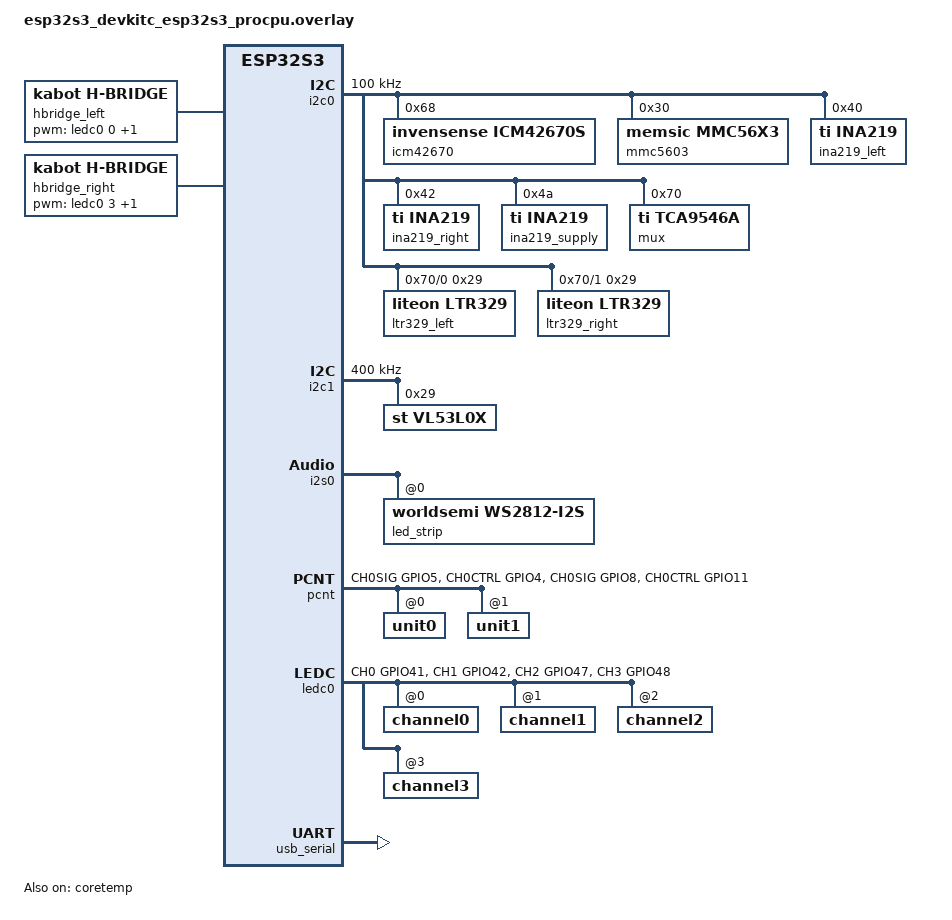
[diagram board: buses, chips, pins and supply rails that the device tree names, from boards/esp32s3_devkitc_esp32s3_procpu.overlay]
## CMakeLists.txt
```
cmake_minimum_required(VERSION 3.20.5)

include(${CMAKE_CURRENT_SOURCE_DIR}/../cmake/KabotVersion.cmake)
kabot_generate_version(${CMAKE_CURRENT_SOURCE_DIR}/VERSION)

list(
    APPEND
    ZEPHYR_EXTRA_MODULES
    ${CMAKE_CURRENT_SOURCE_DIR}/../modules/motor_driver
    ${CMAKE_CURRENT_SOURCE_DIR}/../modules/led_strip
    )

find_package(Zephyr REQUIRED)

project(kabot)

list(APPEND CMAKE_MODULE_PATH ${ZEPHYR_BASE}/modules/nanopb)
include(nanopb)

zephyr_nanopb_sources(app protos/state_control_msg.proto)

zephyr_library_include_directories(include)

target_sources(
    app
    PRIVATE src/main.c
            src/control/control_service.c
            src/control/discovery_service.c
            src/system/robot_settings.c
            src/zbus/channels/control_channel.c
            src/zbus/control/effort_subscriber.c
            src/zbus/channels/state_channel.c
            src/zbus/channels/state_egress_channel.c
            src/zbus/state/state_aggregator.c
            src/zbus/control/effort_state_publisher.c
            src/zbus/state/state_periodic_publisher.c
            src/zbus/state/state_udp_sender.c
            src/zbus/channels/sensor_channel.c
            src/zbus/state/sensor_subscriber.c
            src/encoder_sensor_service.c
)

if(CONFIG_KABOT_ENABLE_SIMULATED_STATE_SENSORS)
    if(CONFIG_KABOT_ENABLE_SIMULATED_IMU_PUBLISHER)
        target_sources(app PRIVATE src/zbus/state/sim_imu_publisher.c)
    endif()

    if(CONFIG_KABOT_ENABLE_SIMULATED_MAG_PUBLISHER)
        target_sources(app PRIVATE src/zbus/state/sim_magnetometer_publisher.c)
    endif()

    if(CONFIG_KABOT_ENABLE_SIMULATED_DISTANCE_PUBLISHER)
        target_sources(app PRIVATE src/zbus/state/sim_distance_publisher.c)
    endif()

    if(CONFIG_KABOT_ENABLE_SIMULATED_CURRENT_PUBLISHER)
        target_sources(app PRIVATE src/zbus/state/sim_current_publisher.c)
    endif()
endif()

if(CONFIG_KABOT_ENABLE_DISTANCE_PUBLISHER)
    target_sources(app PRIVATE src/zbus/state/distance_publisher.c)
endif()

if(CONFIG_KABOT_ENABLE_MAGNETOMETER_PUBLISHER)
    target_sources(app PRIVATE src/zbus/state/magnetometer_publisher.c)
endif()

if(CONFIG_KABOT_ENABLE_IMU_PUBLISHER)
    target_sources(app PRIVATE src/zbus/state/imu_publisher.c)
endif()

if(CONFIG_KABOT_ENABLE_LIGHT_PUBLISHER)
    target_sources(app PRIVATE src/zbus/state/light_publisher.c)
endif()

if(CONFIG_KABOT_ENABLE_CURRENT_PUBLISHER)
    target_sources(app PRIVATE src/zbus/state/current_publisher.c)
endif()

if(CONFIG_LED_STRIP)
    target_sources(app PRIVATE src/system/led_status_service.c)
endif()

if(NOT BOARD MATCHES "^native_sim(/.*)?$")
    target_sources(
        app
        PRIVATE src/zbus/state/encoder_publisher.c
    )
endif()

if(CONFIG_ZENBEDDED_RCL)
    target_sources(app PRIVATE src/system/zenbedded_native_sim.cpp)
endif()
```

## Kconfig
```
mainmenu "kabot"

# Source the main Zephyr Kconfig tree
source "Kconfig.zephyr"

# Keep symbol definitions in Kconfig.module to avoid duplication with module/compliance entrypoints.
rsource "Kconfig.module"
```

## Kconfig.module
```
config KABOT_LOG_LEVEL_DEFAULT
    int "Default runtime log level"
    default 3
    range 0 4
    help
      Sets the default runtime log level applied at boot.
      0: OFF
      1: ERROR
      2: WARNING
      3: INFO
      4: DEBUG

config KABOT_MOTOR_SHELL
    bool "Enable motor shell commands"
    default y
    depends on SHELL
    help
      Enable the `motor` shell command group.

config KABOT_CONTROL_WATCHDOG_MS
    int "Motor safety stop watchdog period (ms)"
    default 300
    range 100 10000
    help
      If no control command arrives within this period, or the robot is unclaimed,
      motor effort is immediately zeroed.

config KABOT_CONTROL_INGRESS_PORT
    int "Control ingress UDP port"
    default 30010
    range 1024 65535
    help
      UDP ingress port for serialized Control messages.

config KABOT_DISCOVERY_PORT
    int "Discovery UDP port"
    default 30012
    range 1024 65535
    help
      UDP port where robot listens for Bonjour discovery datagrams.

config KABOT_DEFAULT_SERIAL
    string "Default robot serial"
    default "kabot-unknown"
    help
      Fallback serial used when no serial is stored in settings.

config KABOT_DEFAULT_HUMAN_NAME
    string "Default robot human-readable name"
    default "Kabot"
    help
      Fallback human-readable name used when no name is stored in settings.

config KABOT_STATE_EGRESS_HOST
    string "State egress destination host"
    default "192.168.0.106"
    help
      IPv4 destination host for UDP state egress.

config KABOT_STATE_EGRESS_PORT
    int "State egress UDP port"
    default 30011
    range 1024 65535
    help
      UDP destination port for serialized State messages.

config KABOT_STATE_EGRESS_PERIOD_MS
    int "State egress publish period (ms)"
    default 100
    range 10 60000
    help
      Periodic state publish cadence in milliseconds for UDP egress.
      Lower values increase CPU and network load.

config KABOT_SENSOR_RETRY_PERIOD_MS
    int "Time between sensor initialization retries (ms)"
    default 1000
    range 100 2000
    help
      When sensor is not ready during first initialization trial
      Retry after specified period

config KABOT_LED_STATUS_BLINK_MS
    int "Status LED blink period (ms)"
    default 250
    range 50 5000
    help
      Blink period for status LED feedback patterns.

config KABOT_LED_STATUS_SPARKLE_PULSE_MS
    int "Connected LED sparkle pulse duration (ms)"
    default 5
    range 5 1000
    help
      Duration of each random-channel LED sparkle pulse while Wi-Fi is connected.

config KABOT_LED_STATUS_SPARKLE_PERIOD_MS
    int "Connected LED sparkle period (ms)"
    default 100
    range 20 10000
    help
      Time between random-channel LED sparkle pulses while Wi-Fi is connected.

config KABOT_LED_STATUS_BREATHE_MS
    int "Disconnected LED breathe ramp duration (ms)"
    default 500
    range 250 10000
    help
      Duration of one disconnected-state LED breathe ramp from minimum to maximum brightness.

config KABOT_STATE_TOP_FRAME_ID
    string "State top-level header frame_id"
    default "base_link"
    help
      Frame identifier used in top-level State.header for periodic egress snapshots.

config KABOT_STATE_EFFORT_FRAME_ID
    string "Effort state frame_id"
    default "motors"
    help
      Frame identifier for State.effort.header emitted from control updates.

config KABOT_STATE_IMU_FRAME_ID
    string "IMU frame_id"
    default "imu"
    help
      Frame identifier for linear_acceleration and angular_velocity simulated updates.

config KABOT_STATE_MAG_FRAME_ID
    string "Magnetometer frame_id"
    default "mag"
    help
      Frame identifier for magnetic_field simulated updates.

config KABOT_STATE_DISTANCE_FRAME_ID
    string "Distance frame_id"
    default "tof"
    help
      Frame identifier for distance updates.

config KABOT_STATE_LIGHT_LEFT_FRAME_ID
    string "Left light frame_id"
    default "light_left"
    help
      Frame identifier for left light updates.

config KABOT_STATE_LIGHT_RIGHT_FRAME_ID
    string "Right light frame_id"
    default "light_right"
    help
      Frame identifier for right light updates.

config KABOT_STATE_CURRENT_LEFT_FRAME_ID
    string "Left current sensor frame_id"
    default "current_left"
    help
      Frame identifier for left INA219 updates.

config KABOT_STATE_CURRENT_RIGHT_FRAME_ID
    string "Right current sensor frame_id"
    default "current_right"
    help
      Frame identifier for right INA219 updates.

config KABOT_STATE_CURRENT_SUPPLY_FRAME_ID
    string "Supply current sensor frame_id"
    default "current_supply"
    help
      Frame identifier for supply INA219 updates.

config KABOT_STATE_IMU_PERIOD_MS
    int "IMU simulated publish period (ms)"
    default 100
    range 10 60000
    help
      Refresh period for linear_acceleration and angular_velocity simulated state updates.

config KABOT_STATE_MAG_PERIOD_MS
    int "Magnetometer simulated publish period (ms)"
    default 200
    range 10 60000
    help
      Refresh period for magnetic_field simulated state updates.

config KABOT_STATE_DISTANCE_PERIOD_MS
    int "Distance publish period (ms)"
    default 20
    range 10 60000
    help
      Refresh period for distance state updates. 17 ms is approximately 60 Hz.

config KABOT_STATE_LIGHT_PERIOD_MS
    int "Light publish period (ms)"
  default 500
  range 500 2000
    help
      Refresh period for dual light state updates.

config KABOT_STATE_CURRENT_PERIOD_MS
    int "Current publisher period (ms)"
    default 20
    range 10 60000
    help
      Refresh period for INA219 current, bus voltage, and power state updates.

config KABOT_ENABLE_SIMULATED_STATE_SENSORS
    bool "Enable simulated state sensor publishers"
    default y if BOARD_NATIVE_SIM
    default n
    help
      Enable simulated IMU, magnetometer, distance, and current publishers.
      Disable this on real hardware to avoid mixing synthetic and physical sensor data.

config KABOT_ENABLE_SIMULATED_IMU_PUBLISHER
    bool "Enable simulated IMU publisher"
    depends on KABOT_ENABLE_SIMULATED_STATE_SENSORS
    default y
    help
      Enable simulated linear_acceleration and angular_velocity publishers.

config KABOT_ENABLE_SIMULATED_MAG_PUBLISHER
    bool "Enable simulated magnetometer publisher"
    depends on KABOT_ENABLE_SIMULATED_STATE_SENSORS
    default y
    help
      Enable simulated magnetic_field publisher.

config KABOT_ENABLE_SIMULATED_DISTANCE_PUBLISHER
    bool "Enable simulated distance publisher"
    depends on KABOT_ENABLE_SIMULATED_STATE_SENSORS
    default y
    help
      Enable simulated distance publisher.

config KABOT_ENABLE_SIMULATED_CURRENT_PUBLISHER
    bool "Enable simulated current publisher"
    depends on KABOT_ENABLE_SIMULATED_STATE_SENSORS
    default y
    help
      Enable simulated INA219-style current, bus voltage, and power publishers.

config KABOT_ENABLE_DISTANCE_PUBLISHER
    bool "Enable real distance publisher"
    depends on SENSOR
    depends on DT_HAS_ST_VL53L0X_ENABLED
    default y
    help
      Enable VL53L0X-backed distance publisher that emits State.distance.

config KABOT_DISTANCE_PUBLISHER_STACK_SIZE
    int "Distance publisher stack size"
    default 2048
    range 1024 8192
    help
      Stack size in bytes for the distance publisher thread.

config KABOT_ENABLE_MAGNETOMETER_PUBLISHER
    bool "Enable real magnetometer publisher"
    depends on SENSOR
    depends on DT_HAS_MEMSIC_MMC56X3_ENABLED
    default y
    help
      Enable MMC56X3-backed magnetometer publisher that emits State.magnetic_field.

config KABOT_MAGNETOMETER_PUBLISHER_STACK_SIZE
    int "Magnetometer publisher stack size"
    default 2048
    range 1024 8192
    help
      Stack size in bytes for the magnetometer publisher thread.

config KABOT_ENABLE_IMU_PUBLISHER
    bool "Enable real IMU publisher"
    depends on SENSOR
    depends on DT_HAS_INVENSENSE_ICM42670P_ENABLED || DT_HAS_INVENSENSE_ICM42670S_ENABLED
    default y
    help
      Enable ICM42670-backed IMU publisher that emits State.linear_acceleration
      and State.angular_velocity.

config KABOT_IMU_PUBLISHER_STACK_SIZE
    int "IMU publisher stack size"
    default 2048
    range 1024 8192
    help
      Stack size in bytes for the IMU publisher thread.

config KABOT_ENABLE_LIGHT_PUBLISHER
    bool "Enable real light publisher"
    depends on SENSOR
    depends on DT_HAS_LITEON_LTR329_ENABLED
    default y
    help
      Enable dual LTR329-backed light publisher that emits State.light_left
      and State.light_right.

config KABOT_LIGHT_PUBLISHER_STACK_SIZE
    int "Light publisher stack size"
    default 2048
    range 1024 8192
    help
      Stack size in bytes for the light publisher thread.

config KABOT_ENABLE_CURRENT_PUBLISHER
    bool "Enable real current publisher"
    depends on SENSOR
    depends on DT_HAS_TI_INA219_ENABLED
    default y
    help
      Enable INA219-backed publisher that emits current, bus voltage,
      and power fields for left, right, and supply sensors.

config KABOT_CURRENT_PUBLISHER_STACK_SIZE
    int "Current publisher stack size"
    default 3072
    range 1024 8192
    help
      Stack size in bytes for the current publisher thread.
```

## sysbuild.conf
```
# Build MCUboot alongside the ESP32-S3 application image.
SB_CONFIG_BOOTLOADER_MCUBOOT=y
SB_CONFIG_MCUBOOT_MODE_SWAP_SCRATCH=y
```

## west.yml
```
manifest:
    remotes:
        - name: zephyrproject-rtos
          url-base: https://github.com/zephyrproject-rtos
    projects:
        - name: zephyr
          remote: zephyrproject-rtos
          revision: v4.2.0
          clone-depth: 1
          import:
              name-blocklist:
                  - acpica
                  - babblesim_base
                  - babblesim_ext_2G4_channel_NtNcable
                  - babblesim_ext_2G4_channel_multiatt
                  - babblesim_ext_2G4_device_WLAN_actmod
                  - babblesim_ext_2G4_device_burst_interferer
                  - babblesim_ext_2G4_device_playback
                  - babblesim_ext_2G4_libPhyComv1
                  - babblesim_ext_2G4_modem_BLE_simple
                  - babblesim_ext_2G4_modem_magic
                  - babblesim_ext_2G4_phy_v1
                  - babblesim_ext_libCryptov1
                  - bsim
                  - cmsis
                  - cmsis-dsp
                  - cmsis-nn
                  - cmsis_6
                  - edtt
                  - fatfs
                  - hal_adi
                  - hal_afbr
                  - hal_ambiq
                  - hal_atmel
                  - hal_bouffalolab
                  # - hal_espressif
                  - hal_ethos_u
                  - hal_gigadevice
                  - hal_infineon
                  - hal_intel
                  - hal_microchip
                  - hal_nordic
                  - hal_nuvoton
                  - hal_nxp
                  - hal_openisa
                  - hal_quicklogic
                  - hal_renesas
                  - hal_rpi_pico
                  - hal_silabs
                  - hal_st
                  - hal_stm32
                  - hal_tdk
                  - hal_telink
                  - hal_ti
                  - hal_wch
                  - hal_wurthelektronik
                  - hal_xtensa
                  - liblc3
                  - libmctp
                  - libmetal
                  - libsbc
                  - littlefs
                  - lora-basics-modem
                  - loramac-node
                  - lvgl
                  - mbedtls
                  # - mcuboot
                  - mipi-sys-t
                  - nanopb
                  # - net-tools
                  - nrf_hw_models
                  - nrf_wifi
                  - open-amp
                  - openthread
                  - percepio
                  - picolibc
                  - segger
                  - trusted-firmware-a
                  - trusted-firmware-m
                  - uoscore-uedhoc
                  - zcbor
        - name: micro_ros_zephyr_module
          url: https://github.com/micro-ROS/micro_ros_zephyr_module.git
          path: modules/lib/micro_ros_zephyr
          revision: kilted
```

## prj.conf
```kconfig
CONFIG_SHELL=y
CONFIG_KABOT_MOTOR_SHELL=y

CONFIG_EEPROM=y
# CONFIG_EEPROM_SHELL=y

CONFIG_LOG=y
CONFIG_LOG_MAX_LEVEL=3
CONFIG_LOG_DEFAULT_LEVEL=4
CONFIG_KABOT_LOG_LEVEL_DEFAULT=3
CONFIG_LOG_CMDS=y
CONFIG_NET_LOG=y

CONFIG_NETWORKING=y
CONFIG_NET_SHELL=y
CONFIG_NET_IPV4=y
CONFIG_NET_UDP=y
CONFIG_NET_SOCKETS=y
CONFIG_NET_SOCKETS_SERVICE=y
CONFIG_POSIX_API=y
CONFIG_NET_STATISTICS=y


# ZBUS BEGIN
CONFIG_HEAP_MEM_POOL_SIZE=65536
CONFIG_ZBUS=y
CONFIG_ZBUS_LOG_LEVEL_INF=y
CONFIG_ZBUS_CHANNEL_NAME=y
CONFIG_ZBUS_OBSERVER_NAME=y
CONFIG_ZBUS_RUNTIME_OBSERVERS=y
CONFIG_NANOPB=y
# ZBUS END

CONFIG_NET_BUF=y
CONFIG_CRC=y
CONFIG_THREAD_MONITOR=y
CONFIG_THREAD_NAME=y
CONFIG_THREAD_STACK_INFO=y
CONFIG_INIT_STACKS=y
CONFIG_THREAD_RUNTIME_STATS=y
CONFIG_SCHED_THREAD_USAGE=y
CONFIG_SCHED_THREAD_USAGE_ALL=y
CONFIG_SCHED_THREAD_USAGE_AUTO_ENABLE=y
CONFIG_STATS=y
CONFIG_STATS_NAMES=y

# GPIO START
CONFIG_GPIO=y
CONFIG_GPIO_SHELL=y
# GPIO END

# I2C START
CONFIG_I2C=y
CONFIG_I2C_SHELL=y
# I2C END

# PWM START
CONFIG_PWM=y
CONFIG_PWM_SHELL=y
# PWM END

# GPIO1 8 - nav leds
# GPIO1 9 - user led

# CONFIG
CONFIG_SENSOR=y
CONFIG_SENSOR_ASYNC_API=y
CONFIG_SENSOR_SHELL=y
CONFIG_RTIO=y
CONFIG_RTIO_WORKQ=y

CONFIG_KABOT_STATE_EGRESS_PERIOD_MS=100
CONFIG_KABOT_STATE_EGRESS_HOST="172.20.10.10"
```

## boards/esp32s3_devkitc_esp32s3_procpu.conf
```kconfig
CONFIG_EARLY_CONSOLE=y
CONFIG_ESPTOOLPY_FLASHSIZE_16MB=y

CONFIG_ZENBEDDED=y
CONFIG_ZENBEDDED_TIER_2=y
CONFIG_ZENBEDDED_TIER2_SCHEMA_PATH="config/zenbedded_native_sim.yaml"
CONFIG_ZENBEDDED_RCL=y
CONFIG_ZENBEDDED_MODE_CLIENT=y
CONFIG_ZENBEDDED_QOS_RELIABLE=y
CONFIG_ZENBEDDED_ZENOH_IP_PORT="192.168.0.105:7447"
CONFIG_CPP=y
CONFIG_STD_CPP17=y

CONFIG_NETWORKING=y
CONFIG_TEST_RANDOM_GENERATOR=y

CONFIG_MAIN_STACK_SIZE=5632
CONFIG_SHELL_STACK_SIZE=6144
CONFIG_SHELL_BACKEND_DUMMY=n
CONFIG_MCUMGR=n
CONFIG_NET_TX_STACK_SIZE=3072
CONFIG_NET_RX_STACK_SIZE=3072
CONFIG_SYSTEM_WORKQUEUE_STACK_SIZE=2048
CONFIG_NET_SOCKETS_SERVICE_STACK_SIZE=4096
CONFIG_STACK_SENTINEL=y

CONFIG_NET_PKT_RX_COUNT=32
CONFIG_NET_PKT_TX_COUNT=32
CONFIG_NET_BUF_RX_COUNT=128
CONFIG_NET_BUF_TX_COUNT=128
CONFIG_NET_MAX_CONN=16
CONFIG_NET_MAX_CONTEXTS=24
CONFIG_NET_DHCPV4=y

CONFIG_NET_IPV4=y
CONFIG_NET_IPV6=n

CONFIG_NET_TCP=y

CONFIG_NET_LOG=y
CONFIG_INIT_STACKS=y

CONFIG_NET_SHELL=y

CONFIG_NET_STATISTICS=y
CONFIG_NET_STATISTICS_PERIODIC_OUTPUT=n

CONFIG_WIFI=y
CONFIG_WIFI_LOG_LEVEL_ERR=y
CONFIG_NET_L2_WIFI_SHELL=y
# printing of scan results puts pressure on queues in new locking
# design in net_mgmt. So, use a higher timeout for a crowded
# environment.
CONFIG_NET_MGMT_EVENT_QUEUE_TIMEOUT=5000
CONFIG_NET_MGMT_EVENT_QUEUE_SIZE=8

# Wifi Connection Persistence
# --- Persist Settings in Flash (NVS) ---
CONFIG_FLASH=y
CONFIG_FLASH_MAP=y
CONFIG_NVS=y
CONFIG_SETTINGS=y
CONFIG_SETTINGS_NVS=y
CONFIG_SETTINGS_SHELL=y

CONFIG_BOOTLOADER_MCUBOOT=y

# --- Wi-Fi Credentials Subsystem ---
CONFIG_WIFI_CREDENTIALS=y
CONFIG_WIFI_CREDENTIALS_BACKEND_SETTINGS=y
CONFIG_WIFI_CREDENTIALS_SHELL=y

# WS2812 LED strip on I2S (GPIO15 data out)
CONFIG_LED_STRIP=y
CONFIG_WS2812_STRIP_I2S=y
CONFIG_I2S=y
CONFIG_I2S_ESP32=y
CONFIG_DMA=y

# Disable simulated state sensors
CONFIG_KABOT_ENABLE_SIMULATED_STATE_SENSORS=n
CONFIG_KABOT_ENABLE_SIMULATED_IMU_PUBLISHER=n
CONFIG_KABOT_ENABLE_SIMULATED_MAG_PUBLISHER=n
CONFIG_KABOT_ENABLE_SIMULATED_DISTANCE_PUBLISHER=n
CONFIG_KABOT_ENABLE_SIMULATED_CURRENT_PUBLISHER=n

# Temporarily disable non-encoder sensors until the sensor rework
CONFIG_KABOT_ENABLE_IMU_PUBLISHER=n
CONFIG_KABOT_ENABLE_MAGNETOMETER_PUBLISHER=n
CONFIG_KABOT_ENABLE_DISTANCE_PUBLISHER=n
CONFIG_KABOT_ENABLE_LIGHT_PUBLISHER=n
CONFIG_KABOT_ENABLE_CURRENT_PUBLISHER=n
CONFIG_ICM42X70=n
CONFIG_MMC56X3=n
CONFIG_VL53L0X=n
CONFIG_INA219=n
CONFIG_LTR55X=n
CONFIG_I2C_TCA954X=n

# --- External RAM
# CONFIG_ESP_SPIRAM is not set
# CONFIG_SPIRAM_MODE_OCT is not set
# CONFIG_SPIRAM_SPEED_80M is not set
# CONFIG_ESP_SPIRAM_MEMTEST=y
# CONFIG_SPIRAM_FETCH_INSTRUCTIONS=y

# CONFIG_ESP32S3_DATA_CACHE_64KB=y
# Keep Wi-Fi/NET allocations on internal RAM for flash-cache stability diagnostics.
# CONFIG_ESP32_WIFI_NET_ALLOC_SPIRAM is not set
# Keep Wi-Fi heap on internal memory for cache-stability during flash/NVS writes.
# CONFIG_ESP_WIFI_HEAP_SPIRAM is not set
# CONFIG_NET_DEBUG_NET_PKT_ALLOC=y
```

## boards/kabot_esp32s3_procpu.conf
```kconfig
# Enable external SPI RAM
CONFIG_SPI=y
CONFIG_ESP_SPIRAM=y

CONFIG_BOOTLOADER_MCUBOOT=y

CONFIG_SERIAL=y
CONFIG_UART_CONSOLE=y
```

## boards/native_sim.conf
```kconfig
CONFIG_SERIAL=y
CONFIG_LOG_BACKEND_UART=n
CONFIG_UART_NATIVE_PTY_0_ON_STDINOUT=y
CONFIG_SHELL_BACKEND_DUMMY=y
CONFIG_SHELL_BACKEND_DUMMY_BUF_SIZE=1024

CONFIG_EEPROM_SIMULATOR=y

CONFIG_ZCBOR=y
CONFIG_MCUMGR=y
CONFIG_MCUMGR_TRANSPORT_UDP=y
CONFIG_MCUMGR_TRANSPORT_UDP_IPV4=y
CONFIG_MCUMGR_TRANSPORT_UDP_IPV6=n
CONFIG_MCUMGR_TRANSPORT_UDP_PORT=1337
CONFIG_MCUMGR_TRANSPORT_NETBUF_USER_DATA_SIZE=128
CONFIG_MCUMGR_GRP_SHELL=y
CONFIG_MCUMGR_GRP_OS=y
CONFIG_MCUMGR_GRP_OS_TASKSTAT=y
CONFIG_MCUMGR_GRP_STAT=y

# Networking
# Networking: offloaded sockets
CONFIG_ETH_NATIVE_TAP=n
CONFIG_NET_DRIVERS=y
CONFIG_NET_SOCKETS=y
CONFIG_NET_SOCKETS_OFFLOAD=y
CONFIG_NET_NATIVE_OFFLOADED_SOCKETS=y

# Networking: offloaded sockets: IPv6 DAD requires lower level network interface access, below exposed socket-level access
CONFIG_NET_IPV6_DAD=n

# Native simulation has no led_strip node in overlay.
CONFIG_KABOT_LED_STRIP_SHELL=n

CONFIG_ZENBEDDED=y
CONFIG_ZENBEDDED_TIER_2=y
CONFIG_ZENBEDDED_TIER2_SCHEMA_PATH="config/zenbedded_native_sim.yaml"
CONFIG_ZENBEDDED_RCL=y
CONFIG_ZENBEDDED_MODE_CLIENT=y
CONFIG_ZENBEDDED_QOS_RELIABLE=y
CONFIG_ZENBEDDED_ZENOH_IP_PORT="127.0.0.1:7447"
CONFIG_CPP=y
CONFIG_STD_CPP17=y
```

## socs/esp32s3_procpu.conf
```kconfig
CONFIG_EARLY_CONSOLE=y

CONFIG_NETWORKING=y
CONFIG_TEST_RANDOM_GENERATOR=y

CONFIG_MAIN_STACK_SIZE=5200
CONFIG_SHELL_STACK_SIZE=5200
CONFIG_NET_TX_STACK_SIZE=2048
CONFIG_NET_RX_STACK_SIZE=2048

CONFIG_NET_PKT_RX_COUNT=10
CONFIG_NET_PKT_TX_COUNT=10
CONFIG_NET_BUF_RX_COUNT=20
CONFIG_NET_BUF_TX_COUNT=20
CONFIG_NET_MAX_CONTEXTS=10
CONFIG_NET_DHCPV4=y

CONFIG_NET_IPV4=y
CONFIG_NET_IPV6=n

CONFIG_NET_TCP=y

CONFIG_NET_LOG=y
CONFIG_INIT_STACKS=y

CONFIG_NET_SHELL=y

CONFIG_NET_STATISTICS=y
CONFIG_NET_STATISTICS_PERIODIC_OUTPUT=n

CONFIG_WIFI=y
CONFIG_WIFI_LOG_LEVEL_ERR=y
CONFIG_NET_L2_WIFI_SHELL=y
# printing of scan results puts pressure on queues in new locking
# design in net_mgmt. So, use a higher timeout for a crowded
# environment.
CONFIG_NET_MGMT_EVENT_QUEUE_TIMEOUT=5000
CONFIG_NET_MGMT_EVENT_QUEUE_SIZE=16


##########################
# USB Serial configuration

CONFIG_SERIAL=y
CONFIG_CONSOLE=y
CONFIG_UART_CONSOLE=y
CONFIG_SHELL=y
```

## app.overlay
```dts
/ {
	&pwm0 {
        status = "okay";
        frequency = 50;
    };

};
```

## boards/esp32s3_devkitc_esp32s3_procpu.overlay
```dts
#include <zephyr/dt-bindings/pwm/pwm.h>
#include <zephyr/dt-bindings/led/led.h>

/ {
	chosen {
		zephyr,console = &usb_serial;
		zephyr,shell-uart = &usb_serial;
		zephyr,led-strip = &led_strip;
	};

	aliases {
		qdec0 = &pcnt;
		motor-left = &hbridge_left;
		motor-right = &hbridge_right;
		led-strip = &led_strip;
		kabot-imu = &icm42670;
		kabot-mag = &mmc5603;
		kabot-distance = &vl53l0x;
		kabot-light-left = &ltr329_left;
		kabot-light-right = &ltr329_right;
		kabot-current-left = &ina219_left;
		kabot-current-right = &ina219_right;
		kabot-current-supply = &ina219_supply;
		kabot-temp = &coretemp;
	};

	hbridge_left: hbridge_left {
		compatible = "kabot,h-bridge";
		pwms = <&ledc0 0 50000 PWM_POLARITY_NORMAL>,
		       <&ledc0 1 50000 PWM_POLARITY_NORMAL>;
	};

	hbridge_right: hbridge_right {
		compatible = "kabot,h-bridge";
		pwms = <&ledc0 3 50000 PWM_POLARITY_NORMAL>,
		       <&ledc0 2 50000 PWM_POLARITY_NORMAL>;
	};
};

&i2s0_default {
	group1 {
		pinmux = <I2S0_O_SD_GPIO15>;
	};
};

&i2c0 {
	pinctrl-0 = <&i2c0_mag_default>;
	pinctrl-names = "default";
	status = "okay";
	clock-frequency = <I2C_BITRATE_STANDARD>;

	icm42670: icm42670@68 {
		compatible = "invensense,icm42670s";
		reg = <0x68>;
		accel-hz = <100>;
		gyro-hz = <100>;
		accel-fs = <16>;
		gyro-fs = <2000>;
	};

	mmc5603: mmc5603@30 {
		compatible = "memsic,mmc56x3";
		reg = <0x30>;
		magn-odr = <0>;
		auto-self-reset;
	};

	ina219_left: ina219@40 {
		compatible = "ti,ina219";
		reg = <0x40>;
		shunt-milliohm = <100>;
		lsb-microamp = <100>;
		status = "okay";
	};

	ina219_right: ina219@42 {
		compatible = "ti,ina219";
		reg = <0x42>;
		shunt-milliohm = <100>;
		lsb-microamp = <100>;
		status = "okay";
	};

	ina219_supply: ina219@4a {
		compatible = "ti,ina219";
		reg = <0x4a>;
		shunt-milliohm = <100>;
		lsb-microamp = <100>;
		status = "okay";
	};

	mux: tca9546a@70 {
		compatible = "ti,tca9546a";
		reg = <0x70>;
		status = "okay";
		#address-cells = <1>;
		#size-cells = <0>;

		mux_i2c0: mux_i2c0@0 {
			reg = <0>;
			#address-cells = <1>;
			#size-cells = <0>;
			status = "okay";

			ltr329_left: ltr329@29 {
				compatible = "liteon,ltr329";
				reg = <0x29>;
				status = "okay";
			};
		};

		mux_i2c1: mux_i2c1@1 {
			reg = <1>;
			#address-cells = <1>;
			#size-cells = <0>;
			status = "okay";

			ltr329_right: ltr329@29 {
				compatible = "liteon,ltr329";
				reg = <0x29>;
				status = "okay";
			};
		};
	};
};

&i2c1 {
	pinctrl-0 = <&i2c1_tof_default>;
	pinctrl-names = "default";
	status = "okay";
	clock-frequency = <I2C_BITRATE_FAST>;

	vl53l0x: vl53l0x@29 {
		compatible = "st,vl53l0x";
		reg = <0x29>;
	};
};

i2s_led: &i2s0 {
	status = "okay";

	dmas = <&dma 3>;
	dma-names = "tx";

	led_strip: ws2812@0 {
		compatible = "worldsemi,ws2812-i2s";

		reg = <0>;
		chain-length = <12>;
		color-mapping = <LED_COLOR_ID_GREEN
				 LED_COLOR_ID_RED
				 LED_COLOR_ID_BLUE>;
		reset-delay = <500>;
	};
};

&dma {
	status = "okay";
};

&pinctrl {
	i2c0_mag_default: i2c0_mag_default {
		group1 {
			pinmux = <I2C0_SDA_GPIO2>,
				 <I2C0_SCL_GPIO1>;
			bias-pull-up;
			drive-open-drain;
			output-high;
		};
	};

	i2c1_tof_default: i2c1_tof_default {
		group1 {
			pinmux = <I2C1_SDA_GPIO40>,
				 <I2C1_SCL_GPIO39>;
			bias-pull-up;
			drive-open-drain;
			output-high;
		};
	};

	ledc0_default: ledc0_default {
		group1 {
			pinmux = <LEDC_CH0_GPIO41>,
				 <LEDC_CH1_GPIO42>,
				 <LEDC_CH2_GPIO47>,
				 <LEDC_CH3_GPIO48>;
			output-enable;
		};
	};

	pcnt_default: pcnt_default {
		group1 {
			pinmux = <PCNT0_CH0SIG_GPIO5>,
				 <PCNT0_CH0CTRL_GPIO4>,
				 <PCNT1_CH0SIG_GPIO8>,
				 <PCNT1_CH0CTRL_GPIO11>;
			bias-pull-up;
		};
	};
};

&pcnt {
	pinctrl-0 = <&pcnt_default>;
	pinctrl-names = "default";
	status = "okay";
	#address-cells = <1>;
	#size-cells = <0>;

	unit0@0 {
		reg = <0>;
		#address-cells = <1>;
		#size-cells = <0>;
		filter = <100>;
		counts-per-revolution = <(14 * 298)>;

		channelA@0 {
			reg = <0>;
			sig-pos-mode = <2>;
			sig-neg-mode = <1>;
			ctrl-h-mode = <0>;
			ctrl-l-mode = <1>;
		};
	};

	unit1@1 {
		reg = <1>;
		#address-cells = <1>;
		#size-cells = <0>;
		filter = <100>;
		counts-per-revolution = <(14 * 298)>;

		channelA@0 {
			reg = <0>;
			sig-pos-mode = <2>;
			sig-neg-mode = <1>;
			ctrl-h-mode = <0>;
			ctrl-l-mode = <1>;
		};
	};
};

&ledc0 {
	pinctrl-0 = <&ledc0_default>;
	pinctrl-names = "default";
	status = "okay";
	#address-cells = <1>;
	#size-cells = <0>;

	channel0@0 {
		reg = <0x0>;
		timer = <0>;
	};

	channel1@1 {
		reg = <0x1>;
		timer = <0>;
	};

	channel2@2 {
		reg = <0x2>;
		timer = <0>;
	};

	channel3@3 {
		reg = <0x3>;
		timer = <0>;
	};
};

&coretemp {
	status = "okay";
};

&flash0 {
	/delete-node/ partitions;
};

&flash0 {
	reg = <0x0 DT_SIZE_M(16)>;
};

#include <espressif/partitions_0x0_amp_16M.dtsi>

&psram0 {
	size = <DT_SIZE_M(8)>;
};

&usb_serial {
	status = "okay";
};
```

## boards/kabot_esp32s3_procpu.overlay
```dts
// / {
// 	chosen {
// 		zephyr,console = &usb_serial;
//         zephyr,shell-uart = &usb_serial;
// 	};
// };
```

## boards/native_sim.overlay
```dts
/ {
    uart0: uart {
        status = "okay";
        compatible = "zephyr,native-pty-uart";
    };
    eeprom0: eeprom {
        status = "okay";
        compatible = "zephyr,sim-eeprom";
        size = <256>;
    };
    sim_left: sim_left {
        compatible = "kabot,sim-motor";
        status = "okay";
    };
    sim_right: sim_right {
        compatible = "kabot,sim-motor";
        status = "okay";
    };
    aliases {
        motor-left = &sim_left;
        motor-right = &sim_right;
    };
};
```

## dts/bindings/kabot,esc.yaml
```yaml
description: PWM driven Electronic Speed Controller (ESC).

compatible: "kabot,esc"

include: base.yaml

properties:
    pwms:
        required: true
        type: phandle-array
        description: PWM generating pulses for the esc.

    reverse-pulse:
        required: true
        type: int
        description: Full reverse pulse width (nanoseconds).

    stop-pulse:
        required: true
        type: int
        description: No motion pulse width (nanoseconds).

    forward-pulse:
        required: true
        type: int
        description: Maximum forward pulse width (nanoseconds).

    flip:
        required: false
        type: boolean
        description: Invert the effort direction (e.g. for a physically reversed motor).
```

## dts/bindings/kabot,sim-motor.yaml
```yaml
description: Simulation (stub) motor driver for native_sim / Gazebo bridge.

compatible: "kabot,sim-motor"

include: base.yaml
```

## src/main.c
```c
/* SPDX-License-Identifier: Apache-2.0 */
/* SPDX-FileCopyrightText: Copyright The Kabot Project Contributors */

#include <zephyr/init.h>
#include <zephyr/kernel.h>
#include <zephyr/zbus/zbus.h>

#include "control/control_service.h"
#include "control/discovery_service.h"
#include "system/robot_settings.h"
#if defined(CONFIG_LED_STRIP)
#include "system/led_status_service.h"
#endif
#include "zbus/control/effort_subscriber.h"
#include "zbus/channels/control_channel.h"
#include "zbus/state/sensor_subscriber.h"

#include <zephyr/net/net_if.h>
#include <zephyr/net/net_ip.h>
#include <zephyr/net/wifi_mgmt.h>

#include <zephyr/logging/log.h>
#include <zephyr/logging/log_ctrl.h>

LOG_MODULE_REGISTER(main, LOG_LEVEL_DBG);

#if defined(CONFIG_ZENBEDDED_RCL)
extern int zenbedded_native_sim_init(void);
extern void zenbedded_native_sim_update(void);
#endif

#if defined(CONFIG_WIFI) && defined(CONFIG_LED_STRIP)
#define LED_STATUS_WIFI_EVENTS (NET_EVENT_WIFI_CONNECT_RESULT | NET_EVENT_WIFI_DISCONNECT_RESULT)

static struct net_mgmt_event_callback led_status_wifi_cb;

static void led_status_wifi_event_handler(struct net_mgmt_event_callback *cb, uint64_t mgmt_event,
					  struct net_if *iface)
{
	ARG_UNUSED(iface);

	const struct wifi_status *status = (const struct wifi_status *)cb->info;
	bool ok = status == NULL || status->status == 0;

	switch (mgmt_event) {
	case NET_EVENT_WIFI_CONNECT_RESULT:
		led_status_service_set_network_ready(ok);
		break;
	case NET_EVENT_WIFI_DISCONNECT_RESULT:
		led_status_service_set_network_ready(false);
		break;
	default:
		break;
	}
}

static void register_led_status_wifi_events(void)
{
	net_mgmt_init_event_callback(&led_status_wifi_cb, led_status_wifi_event_handler,
				     LED_STATUS_WIFI_EVENTS);
	net_mgmt_add_event_callback(&led_status_wifi_cb);
}
#else
static void register_led_status_wifi_events(void)
{
}
#endif

static void init_led_status(void)
{
#if defined(CONFIG_LED_STRIP)
	int rc = led_status_service_init();
	if (rc < 0) {
		LOG_WRN("LED status service unavailable: %d", rc);
		return;
	}

	register_led_status_wifi_events();
#endif
}

#if defined(CONFIG_WIFI) && defined(CONFIG_WIFI_CREDENTIALS) &&                                    \
	defined(NET_REQUEST_WIFI_CONNECT_STORED)
static void autoconnect_wifi(void)
{
	LOG_INF("Auto-connecting to Wi-Fi...");

	struct net_if *iface = net_if_get_wifi_sta();

#ifdef CONFIG_WIFI_NM_WPA_SUPPLICANT_CRYPTO_ENTERPRISE
	wifi_set_enterprise_credentials(iface, 0);
#endif /* CONFIG_WIFI_NM_WPA_SUPPLICANT_CRYPTO_ENTERPRISE */

	int rc = net_mgmt(NET_REQUEST_WIFI_CONNECT_STORED, iface, NULL, 0);
	if (rc < 0) {
		LOG_ERR("Failed to connect to Wi-Fi: %d", rc);
	}
	// Implement Wi-Fi connection logic here
}
#else
static void autoconnect_wifi(void)
{
	LOG_INF("Wi-Fi autoconnect skipped: unsupported on this target");
}
#endif

#if defined(CONFIG_ZENBEDDED_RCL) && defined(CONFIG_WIFI)
static void wait_for_zenbedded_network(void)
{
	struct net_if *iface = net_if_get_wifi_sta();

	while (iface == NULL || !net_if_is_up(iface) ||
	       net_if_ipv4_get_global_addr(iface, NET_ADDR_PREFERRED) == NULL) {
		LOG_INF("Waiting for Wi-Fi/IPv4 before starting Zenbedded client");
		k_sleep(K_SECONDS(1));
		iface = net_if_get_wifi_sta();
	}
}
#else
static void wait_for_zenbedded_network(void)
{
}
#endif

// Automatic startup using Zephyr's init system
static int kabot_init(void)
{

	uint32_t domain_count = log_domains_count();
	for (uint32_t d = 0; d < domain_count; d++) {
		uint32_t source_count = log_src_cnt_get(d);
		for (uint32_t i = 0; i < source_count; i++) {
			log_filter_set(NULL, d, i, CONFIG_KABOT_LOG_LEVEL_DEFAULT);
		}
	}

	init_led_status();
	autoconnect_wifi();

	int rc = robot_settings_init();
	if (rc < 0) {
		LOG_ERR("Failed to initialize robot settings: %d", rc);
		return rc;
	}

	rc = start_sensor_subscriber();
	if (rc < 0) {
		LOG_ERR("Failed to start sensor subscriber: %d", rc);
		return rc;
	}

	rc = start_control_service();
	if (rc < 0) {
		LOG_ERR("Failed to start control service: %d", rc);
		stop_sensor_subscriber();
		return rc;
	}

	rc = start_discovery_service();
	if (rc < 0) {
		LOG_ERR("Failed to start discovery service: %d", rc);
		stop_control_service();
		stop_sensor_subscriber();
		return rc;
	}

	return 0;
}

SYS_INIT(kabot_init, APPLICATION, 99);

int main(void)
{
	// High-level application logic goes here
	LOG_INF("Main loop running");
#if defined(CONFIG_ZENBEDDED_RCL)
	wait_for_zenbedded_network();
	int zenbedded_rc;
	while ((zenbedded_rc = zenbedded_native_sim_init()) < 0) {
		LOG_WRN("Zenbedded client initialization failed: %d; retrying", zenbedded_rc);
		k_sleep(K_SECONDS(1));
	}
#endif

	while (1) {
#if defined(CONFIG_ZENBEDDED_RCL)
		zenbedded_native_sim_update();
		k_sleep(K_MSEC(100));
#else
		k_sleep(K_FOREVER);
#endif
	}
}
```

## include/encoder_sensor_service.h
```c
#pragma once

/**
 * @brief Initialize and start the UDP encoder sensor service.
 *
 * This function sets up the UDP sockets and starts listening for encoder sensor data.
 *
 * @return 0 on success, negative errno on failure.
 */
int start_encoder_sensor_service(void);

/**
 * @brief Stop the encoder sensor service and release all socket resources.
 *
 * This function closes the UDP socket and cleans up any resources used by the service.
 */
void stop_encoder_sensor_service(void);
```

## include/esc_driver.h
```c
#pragma once

#include "motor_driver.h"

#include <stdbool.h>
#include <stdint.h>

#include <zephyr/devicetree.h>
#include <zephyr/drivers/pwm.h>

extern const struct motor_driver_api esc_driver_api;

struct esc_driver {
    struct motor_driver base; /**< Must be first — enables casting to motor_driver. */
    struct pwm_dt_spec pwm;
    uint32_t reverse_pulse;
    uint32_t stop_pulse;
    uint32_t forward_pulse;
    bool flip;
};

#define ESC_DRIVER_FROM_DT(node_id, is_flipped)                                                    \
    {                                                                                              \
        .base = {.api = &esc_driver_api},                                                          \
        .pwm = PWM_DT_SPEC_GET(node_id),                                                           \
        .reverse_pulse = DT_PROP(node_id, reverse_pulse),                                          \
        .stop_pulse = DT_PROP(node_id, stop_pulse),                                                \
        .forward_pulse = DT_PROP(node_id, forward_pulse),                                          \
        .flip = is_flipped,                                                                        \
    }
```

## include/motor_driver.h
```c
#pragma once

#include <stdint.h>
#include <zephyr/sys/__assert.h>

/**
 * @brief Abstract motor driver interface.
 *
 * Every concrete motor backend (ESC, H-Bridge, simulation stub, …) embeds
 * a @ref motor_driver as its **first** member and fills in the @p api
 * pointer.  Callers interact exclusively through the inline helpers below
 * so that the subscriber code never needs to know which backend is in use.
 */

struct motor_driver;

/** Function pointer table that every motor driver backend must implement. */
struct motor_driver_api {
    /**
     * @brief Initialize the motor hardware.
     * @return 0 on success, negative errno on failure.
     */
    int (*init)(const struct motor_driver *drv);

    /**
     * @brief Set the motor effort.
     * @param drv    Motor driver instance.
     * @param effort Desired effort in percent, range [-100, 100].
     *               Positive values drive forward, negative values in reverse.
     * @return 0 on success, negative errno on failure.
     */
    int (*set_effort)(const struct motor_driver *drv, int32_t effort);
};

/** Base struct embedded as the first member of every concrete motor driver. */
struct motor_driver {
    const struct motor_driver_api *api;
};

/** Initialize the motor driver hardware. */
static inline int motor_driver_init(const struct motor_driver *drv)
{
    __ASSERT(drv != NULL && drv->api != NULL && drv->api->init != NULL,
             "motor_driver: invalid driver instance");
    return drv->api->init(drv);
}

/** Set motor effort in percent [-100, 100]. */
static inline int motor_driver_set_effort(const struct motor_driver *drv, int32_t effort)
{
    __ASSERT(drv != NULL && drv->api != NULL && drv->api->set_effort != NULL,
             "motor_driver: invalid driver instance");
    return drv->api->set_effort(drv, effort);
}
```

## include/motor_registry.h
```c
#pragma once

#include "motor_driver.h"

#include <stddef.h>

/**
 * @brief Motor registry entry.
 *
 * Associates a human-readable name with a concrete motor driver instance.
 * The registry is populated at build time in effort_subscriber.c using the
 * names "left" and "right".  The board overlay's motor-left / motor-right
 * aliases determine which hardware backend (ESC, sim, …) is instantiated
 * for each entry; the entry names themselves are independent of the alias
 * names.
 */
struct motor_registry_entry {
    const char *name;
    const struct motor_driver *drv;
};

/** @brief Return the total number of registered motors. */
size_t motor_registry_count(void);

/**
 * @brief Return the motor entry at the given index.
 * @return Pointer to the entry, or NULL if idx is out of range.
 */
const struct motor_registry_entry *motor_registry_get(size_t idx);

/**
 * @brief Look up a motor by name.
 * @return Pointer to the entry, or NULL if not found.
 */
const struct motor_registry_entry *motor_registry_find(const char *name);
```

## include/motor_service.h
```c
#pragma once

/**
 * @brief Initialize and start the UDP motor control service.
 *
 * This function sets up the UDP sockets and starts listening for motor control commands.
 *
 * @return 0 on success, negative errno on failure.
 */
int start_motor_service(void);

/**
 * @brief Stop the motor control service and release all socket resources.
 *
 * This function closes the UDP socket and cleans up any resources used by the service.
 */
void stop_motor_service(void);
```

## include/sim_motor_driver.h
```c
#pragma once

#include "motor_driver.h"

/**
 * @brief Simulation motor driver.
 *
 * On @c native_sim this driver acts as a stub that logs effort values.
 * It is intentionally minimal so that it can be extended into a full
 * Gazebo / ROS 2 bridge in a future revision — for example by publishing
 * the effort value to a Gazebo topic over a shared-memory transport.
 */
struct sim_motor_driver {
    struct motor_driver base; /**< Must be first — enables casting to motor_driver. */
    const char *name;         /**< Motor name used in log output and future sim topics. */
};

extern const struct motor_driver_api sim_motor_driver_api;

#define SIM_MOTOR_DRIVER_DEFINE(motor_name)       \
    {                                             \
        .base = {.api = &sim_motor_driver_api},   \
        .name = motor_name,                       \
    }
```

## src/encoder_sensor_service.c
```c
#include "encoder_sensor_service.h"

int start_encoder_sensor_service(void)
{
	return 0;
}

void stop_encoder_sensor_service(void)
{
}
```

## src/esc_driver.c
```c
#include "esc_driver.h"

#include <zephyr/logging/log.h>
#include <zephyr/sys/util.h>

LOG_MODULE_REGISTER(esc_driver, LOG_LEVEL_DBG);

static uint32_t lerp_pulse(uint32_t start, uint32_t end, int32_t percent)
{
    int32_t delta = (int32_t)end - (int32_t)start;
    int32_t pulse = (int32_t)start + ((delta * percent) / 100);

    return (uint32_t)pulse;
}

static uint32_t map_effort_to_pulse(int32_t effort, uint32_t reverse_pulse, uint32_t stop_pulse,
                                    uint32_t forward_pulse)
{
    effort = CLAMP(effort, -100, 100);

    if (effort <= 0) {
        return lerp_pulse(reverse_pulse, stop_pulse, effort + 100);
    }

    return lerp_pulse(stop_pulse, forward_pulse, effort);
}

static int esc_init(const struct motor_driver *drv)
{
    const struct esc_driver *esc = (const struct esc_driver *)drv;

    if (!device_is_ready(esc->pwm.dev)) {
        LOG_ERR("ESC PWM device not ready");
        return -ENODEV;
    }

    return 0;
}

static int esc_set_effort(const struct motor_driver *drv, int32_t effort)
{
    const struct esc_driver *esc = (const struct esc_driver *)drv;
    uint32_t pulse = map_effort_to_pulse(effort, esc->reverse_pulse, esc->stop_pulse,
                                         esc->forward_pulse);

    int ret = pwm_set_dt(&esc->pwm, esc->pwm.period, pulse);
    if (ret < 0) {
        LOG_ERR("Failed to set ESC PWM: %d", ret);
        return ret;
    }

    return 0;
}

const struct motor_driver_api esc_driver_api = {
    .init = esc_init,
    .set_effort = esc_set_effort,
};
```

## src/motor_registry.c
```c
#include "motor_registry.h"

#include "esc_driver.h"
#include "sim_motor_driver.h"

#include <string.h>
#include <zephyr/devicetree.h>
#include <zephyr/sys/util.h>

#define MOTOR_LEFT_NODE  DT_ALIAS(motor_left)
#define MOTOR_RIGHT_NODE DT_ALIAS(motor_right)

#define MOTOR_NODE_IS_SUPPORTED(node_id)                                                           \
    (DT_NODE_HAS_COMPAT(node_id, kabot_esc) || DT_NODE_HAS_COMPAT(node_id, kabot_sim_motor))

BUILD_ASSERT(DT_NODE_EXISTS(MOTOR_LEFT_NODE),
             "Board overlay must provide a 'motor-left' alias for motor driver.");
BUILD_ASSERT(DT_NODE_EXISTS(MOTOR_RIGHT_NODE),
             "Board overlay must provide a 'motor-right' alias for motor driver.");

BUILD_ASSERT(MOTOR_NODE_IS_SUPPORTED(MOTOR_LEFT_NODE),
             "Alias 'motor-left' must target a node compatible with motor driver API.");
BUILD_ASSERT(MOTOR_NODE_IS_SUPPORTED(MOTOR_RIGHT_NODE),
             "Alias 'motor-right' must target a node compatible with motor driver API.");

#if DT_NODE_HAS_COMPAT(MOTOR_LEFT_NODE, kabot_esc)
static const struct esc_driver left_drv = ESC_DRIVER_FROM_DT(MOTOR_LEFT_NODE);
#elif DT_NODE_HAS_COMPAT(MOTOR_LEFT_NODE, kabot_sim_motor)
static const struct sim_motor_driver left_drv = SIM_MOTOR_DRIVER_DEFINE("left");
#else
#error "Unsupported compatible for 'motor-left' alias."
#endif

#if DT_NODE_HAS_COMPAT(MOTOR_RIGHT_NODE, kabot_esc)
static const struct esc_driver right_drv = ESC_DRIVER_FROM_DT(MOTOR_RIGHT_NODE);
#elif DT_NODE_HAS_COMPAT(MOTOR_RIGHT_NODE, kabot_sim_motor)
static const struct sim_motor_driver right_drv = SIM_MOTOR_DRIVER_DEFINE("right");
#else
#error "Unsupported compatible for 'motor-right' alias."
#endif

static const struct motor_registry_entry motors[] = {
    {.name = "left", .drv = (const struct motor_driver *)&left_drv},
    {.name = "right", .drv = (const struct motor_driver *)&right_drv},
};

size_t motor_registry_count(void)
{
    return ARRAY_SIZE(motors);
}

const struct motor_registry_entry *motor_registry_get(size_t idx)
{
    return idx < ARRAY_SIZE(motors) ? &motors[idx] : NULL;
}

const struct motor_registry_entry *motor_registry_find(const char *name)
{
    if (name == NULL) {
        return NULL;
    }

    for (size_t i = 0; i < ARRAY_SIZE(motors); i++) {
        if (strcmp(motors[i].name, name) == 0) {
            return &motors[i];
        }
    }
    return NULL;
}
```

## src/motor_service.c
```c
#include <zephyr/kernel.h>
#include <zephyr/logging/log.h>
#include <zephyr/net/socket_service.h>
#include <zephyr/posix/poll.h>
#include <zephyr/posix/sys/socket.h>
#include <zephyr/posix/unistd.h>
#include <arpa/inet.h>

#include "motor_service.h"
#include "zbus/effort_channel.h"
#include "zbus/effort_msg.h"

LOG_MODULE_REGISTER(motor_service, LOG_LEVEL_DBG);

#define PORT_LEFT  30010
#define PORT_RIGHT 30020
#define MTU        1500

static int socket_left = -1;
static int socket_right = -1;
static struct pollfd sockfd_udp[2];

static void udp_motor_handler(struct net_socket_service_event *pev)
{
    struct pollfd *pfd = &pev->event;
    struct sockaddr_in sender_addr;
    socklen_t addrlen = sizeof(sender_addr);
    static char buf[MTU];

    int len = recvfrom(pfd->fd, buf, sizeof(buf), 0, (struct sockaddr *)&sender_addr, &addrlen);
    if (len < 0) {
        LOG_ERR("recvfrom failed with error %d", errno);
        return;
    }

    if (len == 0) {
        /* Zero-length datagram received, do nothing. */
        return;
    }

    if (len > 1) {
        LOG_WRN("Received datagram larger than expected size of 1 byte. Actual size: %d bytes",
                len);
    }

    int8_t effort = (int8_t)buf[0];
    uint16_t port;
    if (pfd->fd == socket_left) {
        port = PORT_LEFT;
    } else if (pfd->fd == socket_right) {
        port = PORT_RIGHT;
    } else {
        LOG_ERR("Data received on unknown socket: %d", pfd->fd);
        return;
    }

    // A complete message (both left and right valid) needs to be constructed
    // using data received from both ports. The channel validator ensures that
    // partially updated message (e.g. first one) is not sent. This is temporary
    // needed until a more robust protocol is implemented.
    static struct effort_msg msg = EFFORT_MSG_INVALID;

    if (port == PORT_LEFT) {
        msg.left = effort;
    } else if (port == PORT_RIGHT) {
        msg.right = effort;
    }

    if (effort_channel_validator(&msg, sizeof(msg))) {
        int publish_error = publish_effort_msg(&msg, K_MSEC(1000));
        if (publish_error) {
            LOG_ERR("Failed to publish effort message: %d", publish_error);
            msg = (struct effort_msg)EFFORT_MSG_INVALID;
        }
    }
}

NET_SOCKET_SERVICE_SYNC_DEFINE(udp_motor_service, udp_motor_handler, 2);

static int setup_socket(uint16_t port)
{
    int sock = socket(AF_INET, SOCK_DGRAM, IPPROTO_UDP);
    if (sock < 0) {
        return -errno;
    }

    struct sockaddr_in addr = {
            .sin_family = AF_INET,
            .sin_port = htons(port),
            .sin_addr.s_addr = INADDR_ANY,
    };

    if (bind(sock, (struct sockaddr *)&addr, sizeof(addr)) < 0) {
        close(sock);
        return -errno;
    }
    return sock;
}

void stop_motor_service(void)
{
    (void)net_socket_service_unregister(&udp_motor_service);
    if (socket_left >= 0) {
        close(socket_left);
        socket_left = -1;
    }
    if (socket_right >= 0) {
        close(socket_right);
        socket_right = -1;
    }
}

int start_motor_service(void)
{
    socket_left = setup_socket(PORT_LEFT);
    if (socket_left < 0) {
        return socket_left;
    }

    socket_right = setup_socket(PORT_RIGHT);
    if (socket_right < 0) {
        stop_motor_service(); // Cleanup resource 1
        return socket_right;
    }

    sockfd_udp[0].fd = socket_left;
    sockfd_udp[0].events = POLLIN;
    sockfd_udp[1].fd = socket_right;
    sockfd_udp[1].events = POLLIN;

    int ret = net_socket_service_register(&udp_motor_service, sockfd_udp, 2, NULL);
    if (ret < 0) {
        stop_motor_service();
        return ret;
    }

    LOG_INF("Motor service active on ports %d, %d", PORT_LEFT, PORT_RIGHT);
    return 0;
}
```

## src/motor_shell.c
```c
#include "motor_registry.h"

#include <errno.h>
#include <stdlib.h>
#include <zephyr/shell/shell.h>

static int cmd_motor_list(const struct shell *sh, size_t argc, char **argv)
{
    ARG_UNUSED(argc);
    ARG_UNUSED(argv);

    size_t count = motor_registry_count();

    if (count == 0) {
        shell_print(sh, "No motors registered.");
        return 0;
    }

    shell_print(sh, "Registered motors:");
    for (size_t i = 0; i < count; i++) {
        const struct motor_registry_entry *e = motor_registry_get(i);

        shell_print(sh, "  %s", e->name);
    }
    return 0;
}

static int cmd_motor_set(const struct shell *sh, size_t argc, char **argv)
{
    ARG_UNUSED(argc);

    const char *name = argv[1];
    char *end;

    errno = 0;
    long effort = strtol(argv[2], &end, 10);

    if (errno == ERANGE || *end != '\0' || effort < -100 || effort > 100) {
        shell_error(sh, "effort must be an integer in [-100, 100]");
        return -EINVAL;
    }

    const struct motor_registry_entry *e = motor_registry_find(name);

    if (e == NULL) {
        shell_error(sh, "motor '%s' not found", name);
        return -ENOENT;
    }

    int ret = motor_driver_set_effort(e->drv, (int32_t)effort);

    if (ret < 0) {
        shell_error(sh, "set_effort failed: %d", ret);
        return ret;
    }

    shell_print(sh, "motor '%s' effort -> %ld", name, effort);
    return 0;
}

/* clang-format off */
SHELL_STATIC_SUBCMD_SET_CREATE(motor_cmds,
    SHELL_CMD_ARG(list, NULL,
                  "List all registered motors.\n"
                  "Usage: motor list",
                  cmd_motor_list, 1, 0),
    SHELL_CMD_ARG(set, NULL,
                  "Set motor effort.\n"
                  "Usage: motor set <name> <effort>  (effort range: -100..100)",
                  cmd_motor_set, 3, 0),
    SHELL_SUBCMD_SET_END
);
/* clang-format on */

SHELL_CMD_REGISTER(motor, &motor_cmds, "Motor control commands.", NULL);
```

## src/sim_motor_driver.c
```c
#include "sim_motor_driver.h"

#include <zephyr/logging/log.h>

LOG_MODULE_REGISTER(sim_motor, LOG_LEVEL_DBG);

static int sim_motor_init(const struct motor_driver *drv)
{
    const struct sim_motor_driver *sim = (const struct sim_motor_driver *)drv;

    LOG_INF("sim motor '%s' ready (Gazebo bridge stub)", sim->name);
    return 0;
}

static int sim_motor_set_effort(const struct motor_driver *drv, int32_t effort)
{
    const struct sim_motor_driver *sim = (const struct sim_motor_driver *)drv;

    /* TODO: publish effort to Gazebo / physics simulator via ROS 2 bridge */
    LOG_DBG("sim motor '%s' effort=%d", sim->name, effort);
    return 0;
}

const struct motor_driver_api sim_motor_driver_api = {
    .init = sim_motor_init,
    .set_effort = sim_motor_set_effort,
};
```
